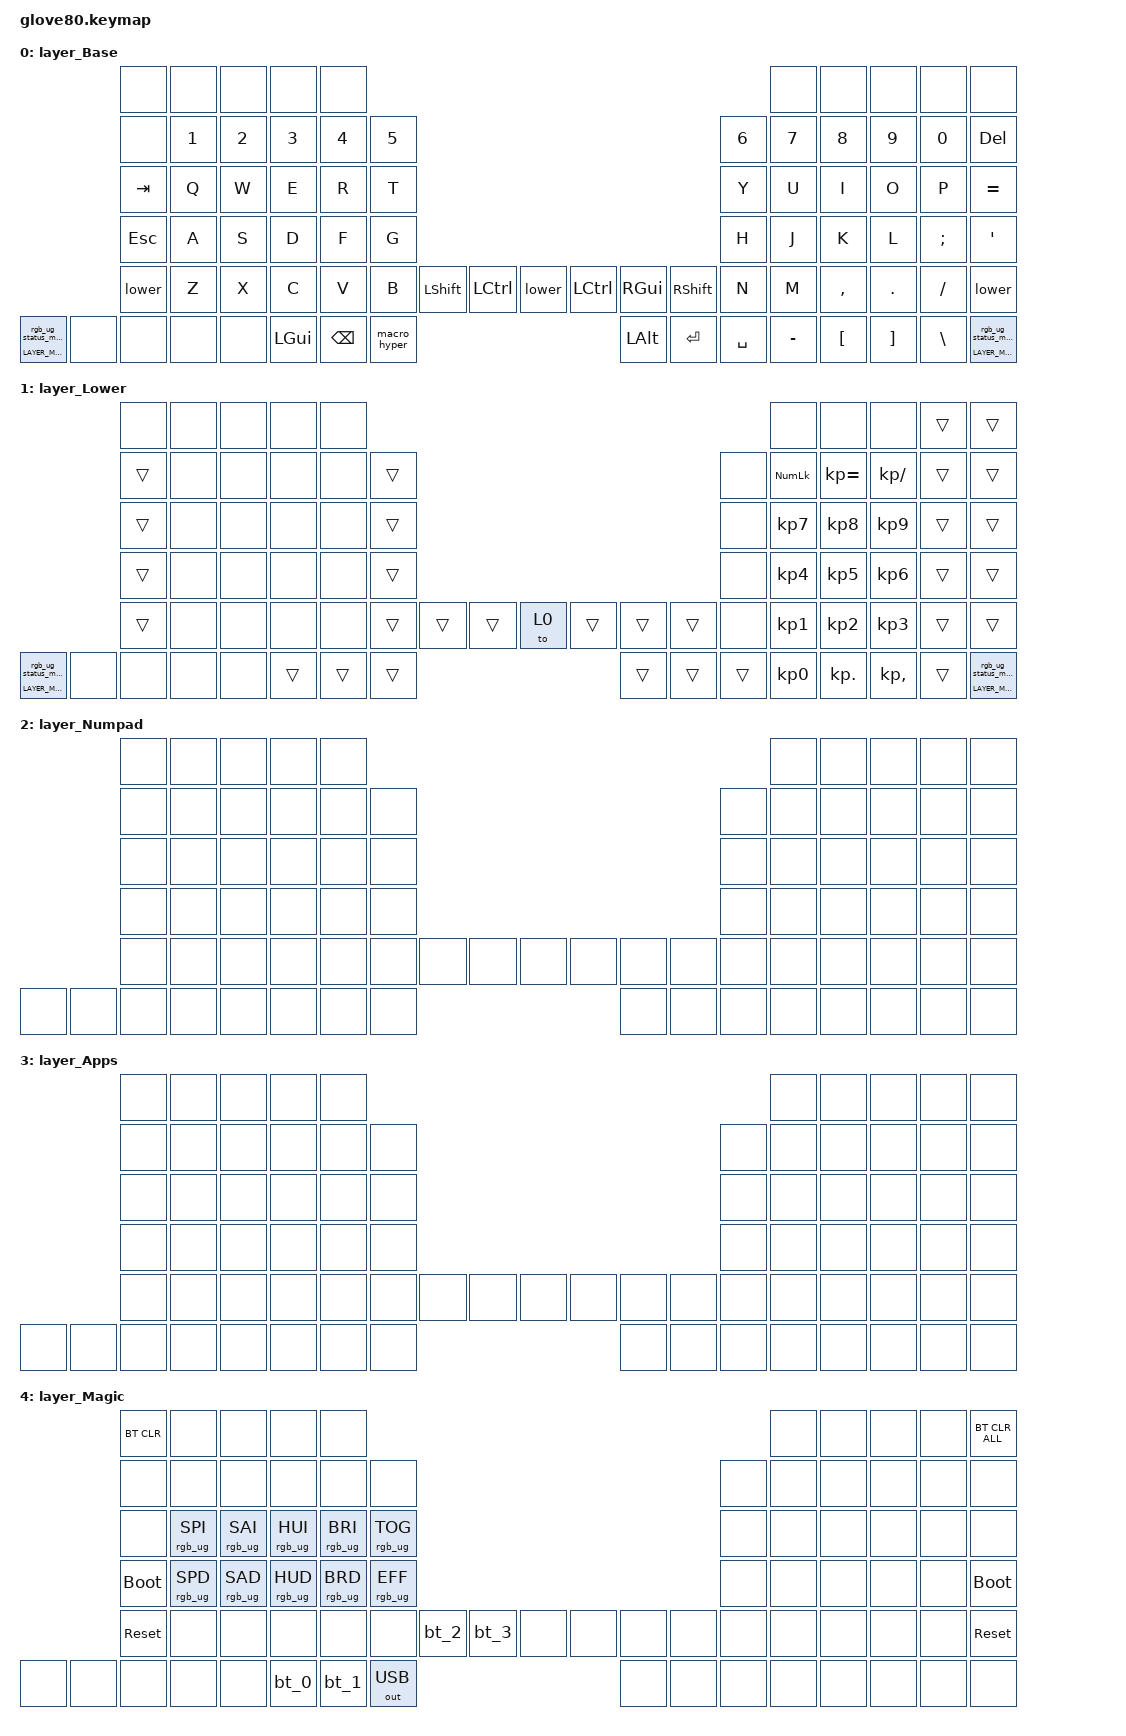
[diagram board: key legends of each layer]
/*
 * Copyright (c) 2020 The ZMK Contributors
 * Copyright (c) 2025 Innaworks Development Limited, trading as MoErgo
 *
 * SPDX-License-Identifier: MIT
 */

#include <behaviors.dtsi>
#include <dt-bindings/zmk/keys.h>
#include <dt-bindings/zmk/bt.h>
#include <dt-bindings/zmk/ext_power.h>
#include <dt-bindings/zmk/outputs.h>
#include <dt-bindings/zmk/rgb.h>

#define HYPER LC(LS(LG(LALT)))

#define LAYER_Base 0
#define LAYER_Lower 1
#define LAYER_Numpad 2
#define LAYER_Apps 3
#define LAYER_Magic 4

/* To deal with situation where there is */
/* no Lower layer, to keep &lower happy */
#ifndef LAYER_Lower
#define LAYER_Lower 0
#endif

/* Custom Device-tree */


/* Input Listeners */


/* System behavior and Macros */
/ {
    behaviors {
        // For the "layer" key, it'd nice to be able to use it as either a shift or a toggle.
        // Configure it as a tap dance, so the first tap (or hold) is a &mo and the second tap is a &to
        lower: lower {
            compatible = "zmk,behavior-tap-dance";
            label = "LAYER_TAP_DANCE";
            #binding-cells = <0>;
            tapping-term-ms = <200>;
            bindings = <&mo LAYER_Lower>, <&to LAYER_Lower>;
        };
    };
};

/ {
    macros {
        rgb_ug_status_macro: rgb_ug_status_macro {
            label = "RGB_UG_STATUS";
            compatible = "zmk,behavior-macro";
            #binding-cells = <0>;
            bindings
                = <&rgb_ug RGB_STATUS>;
        };
    };
};


/ {
#ifdef BT_DISC_CMD
    behaviors {
        bt_0: bt_0 {
            compatible = "zmk,behavior-tap-dance";
            label = "BT_0";
            #binding-cells = <0>;
            tapping-term-ms = <200>;
            bindings = <&bt_select_0>, <&bt BT_DISC 0>;
        };
        bt_1: bt_1 {
            compatible = "zmk,behavior-tap-dance";
            label = "BT_1";
            #binding-cells = <0>;
            tapping-term-ms = <200>;
            bindings = <&bt_select_1>, <&bt BT_DISC 1>;
        };
        bt_2: bt_2 {
            compatible = "zmk,behavior-tap-dance";
            label = "BT_2";
            #binding-cells = <0>;
            tapping-term-ms = <200>;
            bindings = <&bt_select_2>, <&bt BT_DISC 2>;
        };
        bt_3: bt_3 {
            compatible = "zmk,behavior-tap-dance";
            label = "BT_3";
            #binding-cells = <0>;
            tapping-term-ms = <200>;
            bindings = <&bt_select_3>, <&bt BT_DISC 3>;
        };
    };
    macros {
        bt_select_0: bt_select_0 {
            label = "BT_SELECT_0";
            compatible = "zmk,behavior-macro";
            #binding-cells = <0>;
            bindings
                = <&out OUT_BLE>,
                  <&bt BT_SEL 0>;
        };
        bt_select_1: bt_select_1 {
            label = "BT_SELECT_1";
            compatible = "zmk,behavior-macro";
            #binding-cells = <0>;
            bindings
                = <&out OUT_BLE>,
                  <&bt BT_SEL 1>;
        };
        bt_select_2: bt_select_2 {
            label = "BT_SELECT_2";
            compatible = "zmk,behavior-macro";
            #binding-cells = <0>;
            bindings
                = <&out OUT_BLE>,
                  <&bt BT_SEL 2>;
        };
        bt_select_3: bt_select_3 {
            label = "BT_SELECT_3";
            compatible = "zmk,behavior-macro";
            #binding-cells = <0>;
            bindings
                = <&out OUT_BLE>,
                  <&bt BT_SEL 3>;
        };
    };
#else
    macros {
        bt_0: bt_0 {
            label = "BT_0";
            compatible = "zmk,behavior-macro";
            #binding-cells = <0>;
            bindings
                = <&out OUT_BLE>,
                  <&bt BT_SEL 0>;
        };
        bt_1: bt_1 {
            label = "BT_1";
            compatible = "zmk,behavior-macro";
            #binding-cells = <0>;
            bindings
                = <&out OUT_BLE>,
                  <&bt BT_SEL 1>;
        };
        bt_2: bt_2 {
            label = "BT_2";
            compatible = "zmk,behavior-macro";
            #binding-cells = <0>;
            bindings
                = <&out OUT_BLE>,
                  <&bt BT_SEL 2>;
        };
        bt_3: bt_3 {
            label = "BT_3";
            compatible = "zmk,behavior-macro";
            #binding-cells = <0>;
            bindings
                = <&out OUT_BLE>,
                  <&bt BT_SEL 3>;
        };
    };
#endif
};

/ {
    behaviors {
        magic: magic {
            compatible = "zmk,behavior-hold-tap";
            label = "MAGIC_HOLD_TAP";
            #binding-cells = <2>;
            flavor = "tap-preferred";
            tapping-term-ms = <200>;
            bindings = <&mo>, <&rgb_ug_status_macro>;
        };
    };
};

/* #define for key positions */
#define POS_LH_T1 52
#define POS_LH_T2 53
#define POS_LH_T3 54
#define POS_LH_T4 69
#define POS_LH_T5 70
#define POS_LH_T6 71
#define POS_LH_C1R2 15
#define POS_LH_C1R3 27
#define POS_LH_C1R4 39
#define POS_LH_C1R5 51
#define POS_LH_C2R1 4
#define POS_LH_C2R2 14
#define POS_LH_C2R3 26
#define POS_LH_C2R4 38
#define POS_LH_C2R5 50
#define POS_LH_C2R6 68
#define POS_LH_C3R1 3
#define POS_LH_C3R2 13
#define POS_LH_C3R3 25
#define POS_LH_C3R4 37
#define POS_LH_C3R5 49
#define POS_LH_C3R6 67
#define POS_LH_C4R1 2
#define POS_LH_C4R2 12
#define POS_LH_C4R3 24
#define POS_LH_C4R4 36
#define POS_LH_C4R5 48
#define POS_LH_C4R6 66
#define POS_LH_C5R1 1
#define POS_LH_C5R2 11
#define POS_LH_C5R3 23
#define POS_LH_C5R4 35
#define POS_LH_C5R5 47
#define POS_LH_C5R6 65
#define POS_LH_C6R1 0
#define POS_LH_C6R2 10
#define POS_LH_C6R3 22
#define POS_LH_C6R4 34
#define POS_LH_C6R5 46
#define POS_LH_C6R6 64
#define POS_RH_T1 57
#define POS_RH_T2 56
#define POS_RH_T3 55
#define POS_RH_T4 74
#define POS_RH_T5 73
#define POS_RH_T6 72
#define POS_RH_C1R2 16
#define POS_RH_C1R3 28
#define POS_RH_C1R4 40
#define POS_RH_C1R5 58
#define POS_RH_C2R1 5
#define POS_RH_C2R2 17
#define POS_RH_C2R3 29
#define POS_RH_C2R4 41
#define POS_RH_C2R5 59
#define POS_RH_C2R6 75
#define POS_RH_C3R1 6
#define POS_RH_C3R2 18
#define POS_RH_C3R3 30
#define POS_RH_C3R4 42
#define POS_RH_C3R5 60
#define POS_RH_C3R6 76
#define POS_RH_C4R1 7
#define POS_RH_C4R2 19
#define POS_RH_C4R3 31
#define POS_RH_C4R4 43
#define POS_RH_C4R5 61
#define POS_RH_C4R6 77
#define POS_RH_C5R1 8
#define POS_RH_C5R2 20
#define POS_RH_C5R3 32
#define POS_RH_C5R4 44
#define POS_RH_C5R5 62
#define POS_RH_C5R6 78
#define POS_RH_C6R1 9
#define POS_RH_C6R2 21
#define POS_RH_C6R3 33
#define POS_RH_C6R4 45
#define POS_RH_C6R5 63
#define POS_RH_C6R6 79

/* Custom Defined Behaviors */
/ {};

/* Automatically generated macro definitions */
/ {
    macros {
      macro_redo: macro_redo {
        compatible = "zmk,behavior-macro";
        label = "macro_redo";
        wait-ms = <0>;
        tap-ms = <0>;
        #binding-cells = <0>;
        bindings = <&macro_press &kp LEFT_COMMAND>, <&macro_tap &kp Z>, <&macro_release &kp LEFT_COMMAND>;
      };
      macro_undo: macro_undo {
        compatible = "zmk,behavior-macro";
        label = "macro_undo";
        wait-ms = <0>;
        tap-ms = <0>;
        #binding-cells = <0>;
        bindings = <&macro_press &kp LSHIFT &kp LEFT_COMMAND>, <&macro_tap &kp Z>, <&macro_release &kp LSHIFT &kp LEFT_COMMAND>;
      };
      macro_back: macro_back {
        compatible = "zmk,behavior-macro";
        label = "macro_back";
        wait-ms = <0>;
        tap-ms = <0>;
        #binding-cells = <0>;
        bindings = <&macro_press &kp LEFT_COMMAND>, <&macro_tap &kp LEFT_BRACKET>, <&macro_release &kp LEFT_COMMAND>;
      };
      macro_next: macro_next {
        compatible = "zmk,behavior-macro";
        label = "macro_next";
        wait-ms = <0>;
        tap-ms = <0>;
        #binding-cells = <0>;
        bindings = <&macro_press &kp LEFT_COMMAND>, <&macro_tap &kp RIGHT_BRACKET>, <&macro_release &kp LEFT_COMMAND>;
      };
      macro_hyper: macro_hyper {
        compatible = "zmk,behavior-macro";
        label = "macro_hyper";
        wait-ms = <0>;
        tap-ms = <0>;
        #binding-cells = <0>;
        bindings = <&macro_press &kp LCMD>, <&macro_press &kp LCTRL>, <&macro_press &kp LSHFT>, <&macro_press &kp LALT>;
      };
      macro_meh: macro_meh {
        compatible = "zmk,behavior-macro";
        label = "macro_meh";
        wait-ms = <0>;
        tap-ms = <0>;
        #binding-cells = <0>;
        bindings = <&macro_press &kp LCTRL>, <&macro_press &kp LSHFT>, <&macro_press &kp LALT>;
      };
      macro_squotes: macro_squotes {
        compatible = "zmk,behavior-macro";
        label = "macro_squotes";
        wait-ms = <0>;
        tap-ms = <0>;
        #binding-cells = <0>;
        bindings = <&kp SQT>, <&kp SQT>, <&kp LEFT>;
      };
      macro_dquotes: macro_dquotes {
        compatible = "zmk,behavior-macro";
        label = "macro_dquotes";
        wait-ms = <0>;
        tap-ms = <0>;
        #binding-cells = <0>;
        bindings = <&kp LS(SQT)>, <&kp LS(SQT)>, <&kp LEFT>;
      };
      macro_parens: macro_parens{
        compatible = "zmk,behavior-macro";
        label = "macro_parens";
        wait-ms = <0>;
        tap-ms = <0>;
        #binding-cells = <0>;
        bindings = <&kp KP_LPAR>, <&kp KP_RPAR>, <&kp LEFT>;
      };
      macro_braces: macro_braces{
        compatible = "zmk,behavior-macro";
        label = "macro_braces";
        wait-ms = <0>;
        tap-ms = <0>;
        #binding-cells = <0>;
        bindings = <&kp LS(LBKT)>, <&kp LS(RBKT)>, <&kp LEFT>;
      };
      macro_brackets: macro_brackets{
        compatible = "zmk,behavior-macro";
        label = "macro_brackets";
        wait-ms = <0>;
        tap-ms = <0>;
        #binding-cells = <0>;
        bindings = <&kp LBKT>, <&kp RBKT>, <&kp LEFT>;
      };
    };
};

/* Automatically generated behavior definitions */
/ {
    behaviors {

    };
};

/* Automatically generated combos definitions */


/* Automatically generated keymap */
/ {
    keymap {
        compatible = "zmk,keymap";


        layer_Base {
            bindings = <
                &none   &none   &none   &none   &none                                                                                          &none      &none     &none     &none                 &none
                &none  &kp N1  &kp N2  &kp N3  &kp N4  &kp N5                                                                      &kp N6     &kp N7     &kp N8    &kp N9    &kp N0               &kp DEL
              &kp TAB   &kp Q   &kp W   &kp E   &kp R   &kp T                                                                       &kp Y      &kp U      &kp I     &kp O     &kp P             &kp EQUAL
              &kp ESC   &kp A   &kp S   &kp D   &kp F   &kp G                                                                       &kp H      &kp J      &kp K     &kp L  &kp SEMI               &kp SQT
               &lower   &kp Z   &kp X   &kp C   &kp V   &kp B  &kp LSHFT  &kp LCTRL        &lower  &kp LCTRL  &kp RGUI  &kp RSHFT   &kp N      &kp M  &kp COMMA   &kp DOT  &kp FSLH                &lower
 &magic LAYER_Magic 0   &none   &none   &none   &none           &kp LGUI   &kp BSPC  &macro_hyper   &kp LALT   &kp RET  &kp SPACE          &kp MINUS   &kp LBKT  &kp RBKT  &kp BSLH  &magic LAYER_Magic 0
            >;
        };

        layer_Lower {
            bindings = <
                &none   &none   &none   &none   &none                                                                       &none         &none         &none  &trans                &trans
               &trans   &none   &none   &none   &none  &trans                                                   &none  &kp KP_NUM  &kp KP_EQUAL  &kp KP_SLASH  &trans                &trans
               &trans   &none   &none   &none   &none  &trans                                                   &none   &kp KP_N7     &kp KP_N8     &kp KP_N9  &trans                &trans
               &trans   &none   &none   &none   &none  &trans                                                   &none   &kp KP_N4     &kp KP_N5     &kp KP_N6  &trans                &trans
               &trans   &none   &none   &none   &none  &trans  &trans  &trans   &to 0  &trans  &trans  &trans   &none   &kp KP_N1     &kp KP_N2     &kp KP_N3  &trans                &trans
 &magic LAYER_Magic 0   &none   &none   &none   &none          &trans  &trans  &trans  &trans  &trans  &trans           &kp KP_N0    &kp KP_DOT  &kp KP_COMMA  &trans  &magic LAYER_Magic 0
            >;
        };

        layer_Numpad {
            bindings = <
  &none   &none   &none   &none   &none                                                                   &none   &none   &none   &none   &none
  &none   &none   &none   &none   &none   &none                                                   &none   &none   &none   &none   &none   &none
  &none   &none   &none   &none   &none   &none                                                   &none   &none   &none   &none   &none   &none
  &none   &none   &none   &none   &none   &none                                                   &none   &none   &none   &none   &none   &none
  &none   &none   &none   &none   &none   &none   &none   &none   &none   &none   &none   &none   &none   &none   &none   &none   &none   &none
  &none   &none   &none   &none   &none           &none   &none   &none   &none   &none   &none           &none   &none   &none   &none   &none
            >;
        };

        layer_Apps {
            bindings = <
  &none   &none   &none   &none   &none                                                                   &none   &none   &none   &none   &none
  &none   &none   &none   &none   &none   &none                                                   &none   &none   &none   &none   &none   &none
  &none   &none   &none   &none   &none   &none                                                   &none   &none   &none   &none   &none   &none
  &none   &none   &none   &none   &none   &none                                                   &none   &none   &none   &none   &none   &none
  &none   &none   &none   &none   &none   &none   &none   &none   &none   &none   &none   &none   &none   &none   &none   &none   &none   &none
  &none   &none   &none   &none   &none           &none   &none   &none   &none   &none   &none           &none   &none   &none   &none   &none
            >;
        };

        layer_Magic {
            bindings = <
  &bt BT_CLR            &none            &none            &none            &none                                                                                  &none   &none   &none   &none  &bt BT_CLR_ALL
       &none            &none            &none            &none            &none            &none                                                         &none   &none   &none   &none   &none           &none
       &none  &rgb_ug RGB_SPI  &rgb_ug RGB_SAI  &rgb_ug RGB_HUI  &rgb_ug RGB_BRI  &rgb_ug RGB_TOG                                                         &none   &none   &none   &none   &none           &none
 &bootloader  &rgb_ug RGB_SPD  &rgb_ug RGB_SAD  &rgb_ug RGB_HUD  &rgb_ug RGB_BRD  &rgb_ug RGB_EFF                                                         &none   &none   &none   &none   &none     &bootloader
  &sys_reset            &none            &none            &none            &none            &none   &bt_2   &bt_3         &none   &none   &none   &none   &none   &none   &none   &none   &none      &sys_reset
       &none            &none            &none            &none            &none                    &bt_0   &bt_1  &out OUT_USB   &none   &none   &none           &none   &none   &none   &none           &none
            >;
        };

    };
};
